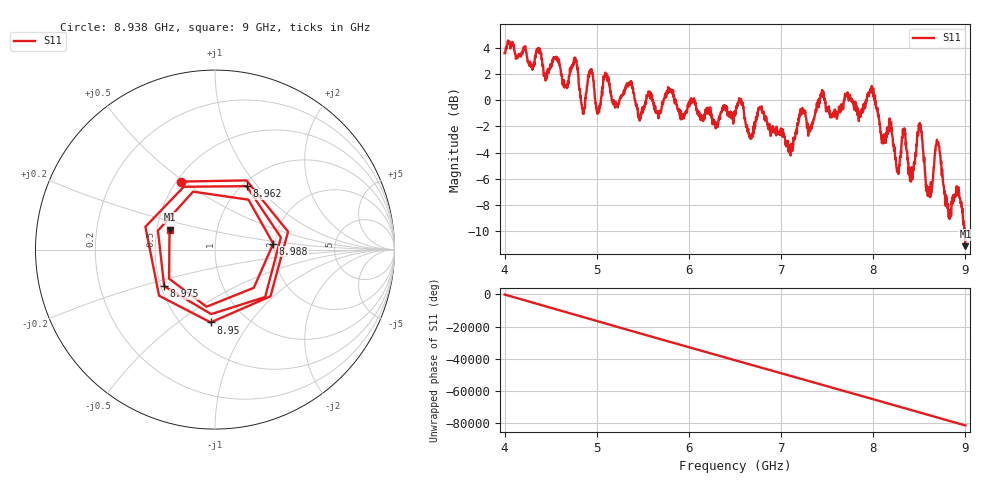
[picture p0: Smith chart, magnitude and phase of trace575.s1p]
! Created with skrf 1.8.0 (http://scikit-rf.org).
# Hz S RI R 50.0
!freq ReS11 ImS11
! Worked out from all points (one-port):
!   1601 points, 4 GHz to 9 GHz, reference 50 ohm
!   lowest |S11| = -11.2 dB at 9 GHz (marker M1), VSWR 1.77, Z = 29.2 + j7.07 ohm
!   |S11| at or under -10 dB: 8.989285 GHz to 8.993114 GHz (3.828 MHz wide, 0.0426 % of centre); 8.994855 GHz to end of sweep
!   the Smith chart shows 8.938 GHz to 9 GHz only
!   S11 on the Smith chart (normalised r, x): 8.938 GHz: 0.53, +0.49; 8.95 GHz: 0.69, -0.67; 8.962 GHz: 1.05, +0.88; 8.975 GHz: 0.52, -0.24; 8.988 GHz: 1.95, +0.14; 9 GHz: 0.58, +0.14
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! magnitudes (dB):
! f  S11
! 4 GHz  3.6
! 4.625 GHz  1.6
! 4.759 GHz  3.0
! 4.847 GHz  -0.7
! 4.931 GHz  2.1
! 5.009 GHz  -1.1
! 5.097 GHz  2.0
! 5.25 GHz  0.1
! 5.875 GHz  -0.7
! 6.5 GHz  -0.8
! 7.125 GHz  -3.3
! 7.438 GHz  0.5
! 7.75 GHz  0.1
! 7.981 GHz  0.6
! 8.109 GHz  -3.2
! 8.331 GHz  -2.6
! 8.375 GHz  -4.4
! 8.422 GHz  -5.9
! 8.503 GHz  -1.8
! 8.597 GHz  -7.2
! 8.697 GHz  -3.3
! 8.812 GHz  -7.9
! 8.938 GHz  -7.5
! 8.95 GHz  -7.8
! 8.962 GHz  -8.1
! 8.975 GHz  -9.1
! 8.988 GHz  -9.7
! 9 GHz  -11.2
